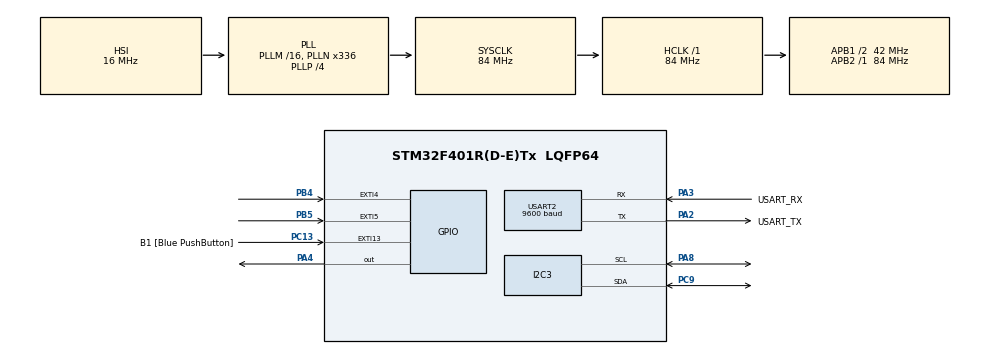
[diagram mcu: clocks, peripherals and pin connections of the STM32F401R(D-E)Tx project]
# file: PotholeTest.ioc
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I2C3.DutyCycle=I2C_DUTYCYCLE_2
I2C3.I2C_Mode=I2C_Fast
Mcu.Family=STM32F4
Mcu.Name=STM32F401R(D-E)Tx
Mcu.Package=LQFP64
NVIC.EXTI15_10_IRQn=true\:0\:0\:false\:false\:true\:true
NVIC.EXTI9_5_IRQn=true\:0\:0\:false\:false\:true\:true
NVIC.PriorityGroup=NVIC_PRIORITYGROUP_0
NVIC.TIM1_UP_TIM10_IRQn=true\:0\:0\:false\:false\:true\:true
PA13.GPIO_Label=TMS
PA13.Mode=Serial_Wire
PA13.Signal=SYS_JTMS-SWDIO
PA14.GPIO_Label=TCK
PA14.Mode=Serial_Wire
PA14.Signal=SYS_JTCK-SWCLK
PA2.GPIO_Label=USART_TX
PA2.GPIO_Mode=GPIO_MODE_AF_PP
PA2.GPIO_PuPd=GPIO_NOPULL
PA2.GPIO_Speed=GPIO_SPEED_FREQ_LOW
PA2.Mode=Asynchronous
PA2.Signal=USART2_TX
PA3.GPIO_Label=USART_RX
PA3.GPIO_Mode=GPIO_MODE_AF_PP
PA3.GPIO_PuPd=GPIO_NOPULL
PA3.GPIO_Speed=GPIO_SPEED_FREQ_LOW
PA3.Mode=Asynchronous
PA3.Signal=USART2_RX
PA4.Signal=GPIO_Output
PA8.Mode=I2C
PA8.Signal=I2C3_SCL
PB3.Signal=I2C2_SDA
PB4.Signal=GPXTI4
PB5.Signal=GPXTI5
PC13-ANTI_TAMP.GPIO_Label=B1 [Blue PushButton]
PC13-ANTI_TAMP.GPIO_ModeDefaultEXTI=GPIO_MODE_IT_FALLING
PC13-ANTI_TAMP.GPIO_PuPd=GPIO_NOPULL
PC13-ANTI_TAMP.Signal=GPXTI13
PC14-OSC32_IN.Mode=LSE-External-Oscillator
PC14-OSC32_IN.Signal=RCC_OSC32_IN
PC15-OSC32_OUT.Mode=LSE-External-Oscillator
PC15-OSC32_OUT.Signal=RCC_OSC32_OUT
PC9.Mode=I2C
PC9.Signal=I2C3_SDA
PH0\ -\ OSC_IN.Mode=HSE-External-Clock-Source
PH0\ -\ OSC_IN.Signal=RCC_OSC_IN
PH1\ -\ OSC_OUT.Mode=HSE-External-Clock-Source
PH1\ -\ OSC_OUT.Signal=RCC_OSC_OUT
ProjectManager.HeapSize=0x200
ProjectManager.StackSize=0x400
ProjectManager.TargetToolchain=SW4STM32
RCC.48MHZClocksFreq_Value=48000000
RCC.AHBFreq_Value=84000000
RCC.APB1CLKDivider=RCC_HCLK_DIV2
RCC.APB1Freq_Value=42000000
RCC.APB1TimFreq_Value=84000000
RCC.APB2Freq_Value=84000000
RCC.APB2TimFreq_Value=84000000
RCC.CortexFreq_Value=84000000
RCC.HCLKFreq_Value=84000000
RCC.HSE_VALUE=8000000
RCC.HSI_VALUE=16000000
RCC.PLLN=336
RCC.PLLP=RCC_PLLP_DIV4
RCC.PLLQ=7
RCC.SYSCLKFreq_VALUE=84000000
RCC.SYSCLKSource=RCC_SYSCLKSOURCE_PLLCLK
RCC.VCOOutputFreq_Value=336000000
TIM1.Period=32768
TIM1.Prescaler=65535
TIM1.TIM_MasterOutputTrigger=TIM_TRGO_RESET
USART2.BaudRate=9600
USART2.VirtualMode=VM_ASYNC
VP_TIM1_VS_ClockSourceINT.Mode=Internal
board=NUCLEO-F401RE

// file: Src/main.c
/**
  ******************************************************************************
  * @file           : main.c
  * @brief          : Main program body
  ******************************************************************************
  ** This notice applies to any and all portions of this file
  * that are not between comment pairs USER CODE BEGIN and
  * USER CODE END. Other portions of this file, whether
  * inserted by the user or by software development tools
  * are owned by their respective copyright owners.
  *
  * COPYRIGHT(c) 2018 STMicroelectronics
  *
  * Redistribution and use in source and binary forms, with or without modification,
  * are permitted provided that the following conditions are met:
  *   1. Redistributions of source code must retain the above copyright notice,
  *      this list of conditions and the following disclaimer.
  *   2. Redistributions in binary form must reproduce the above copyright notice,
  *      this list of conditions and the following disclaimer in the documentation
  *      and/or other materials provided with the distribution.
  *   3. Neither the name of STMicroelectronics nor the names of its contributors
  *      may be used to endorse or promote products derived from this software
  *      without specific prior written permission.
  *
  * THIS SOFTWARE IS PROVIDED BY THE COPYRIGHT HOLDERS AND CONTRIBUTORS "AS IS"
  * AND ANY EXPRESS OR IMPLIED WARRANTIES, INCLUDING, BUT NOT LIMITED TO, THE
  * IMPLIED WARRANTIES OF MERCHANTABILITY AND FITNESS FOR A PARTICULAR PURPOSE ARE
  * DISCLAIMED. IN NO EVENT SHALL THE COPYRIGHT HOLDER OR CONTRIBUTORS BE LIABLE
  * FOR ANY DIRECT, INDIRECT, INCIDENTAL, SPECIAL, EXEMPLARY, OR CONSEQUENTIAL
  * DAMAGES (INCLUDING, BUT NOT LIMITED TO, PROCUREMENT OF SUBSTITUTE GOODS OR
  * SERVICES; LOSS OF USE, DATA, OR PROFITS; OR BUSINESS INTERRUPTION) HOWEVER
  * CAUSED AND ON ANY THEORY OF LIABILITY, WHETHER IN CONTRACT, STRICT LIABILITY,
  * OR TORT (INCLUDING NEGLIGENCE OR OTHERWISE) ARISING IN ANY WAY OUT OF THE USE
  * OF THIS SOFTWARE, EVEN IF ADVISED OF THE POSSIBILITY OF SUCH DAMAGE.
  *
  ******************************************************************************
  */
#include "main.h"
#include "stm32f4xx_hal.h"

/* USER CODE BEGIN Includes */
#include "string.h"
/* Uncomment this if session will be debugged via UART */
// #define DEBUG_UART

#define MAX_BUFFER 256

/* USER CODE END Includes */

I2C_HandleTypeDef hi2c3;

TIM_HandleTypeDef htim1;

UART_HandleTypeDef huart2;

/* USER CODE BEGIN PV */
/* Private variables ---------------------------------------------------------*/
static void * LSM6DSL_X_0_handle = NULL;
/* State of the System */
uint8_t StatusFlag = 0;
/* Number of potholes detected */
static uint8_t mems_event_detected = 0;
/* Mode of the system (Timed or Delta)
 * 0 : Timed - Send counted potholes every 30 seconds
 * 1 : Burst - Send pothole as soon as detected
 */
static enum typesOfmodeTx {Timed,Burst} modeTx;
/* I2C Address of Seeeduino */
uint16_t I2C_ADDRESS = 4;
/* String message for printing stuff */
char msg [MAX_BUFFER] = "";

/* USER CODE END PV */

void SystemClock_Config(void);
static void MX_GPIO_Init(void);
static void MX_USART2_UART_Init(void);
static void MX_TIM1_Init(void);
static void MX_I2C3_Init(void);

/* USER CODE BEGIN PFP */
/* Private function prototypes -----------------------------------------------*/
static void initializeAllSensors( void );
static void enableAllSensors( void );
static void blinkLED(uint8_t counts);
static void i2c_scan( void );
static void print_UART( void );
/* USER CODE END PFP */

int main(void)
{
  /* USER CODE BEGIN 1 */
	memset(msg, 0, MAX_BUFFER);
	ACCELERO_Event_Status_t status;
	HAL_StatusTypeDef errorcode = HAL_ERROR;
  /* USER CODE END 1 */

  /* MCU Configuration----------------------------------------------------------*/

  /* Reset of all peripherals, Initializes the Flash interface and the Systick. */
  HAL_Init();

  /* USER CODE BEGIN Init */
  BSP_LED_Init( 0 );
  /* USER CODE END Init */

  /* Configure the system clock */
  SystemClock_Config();

  /* Initialize all configured peripherals */
  MX_GPIO_Init();
  MX_USART2_UART_Init();
  MX_TIM1_Init();
  MX_I2C3_Init();
  /* USER CODE BEGIN 2 */
  sprintf(msg,"Initializating board...\n");
  print_UART();
  initializeAllSensors();
  enableAllSensors();
  i2c_scan();

  HAL_TIM_Base_Start_IT(&htim1);
  /* USER CODE END 2 */

  /* Infinite loop */
  while (1)
  {

  /* USER CODE BEGIN 3 */
	  switch(StatusFlag) {
		  case 0 : {
			  break;
		  }
		  case 1 : {
			if(mems_event_detected){
				// Send counted events via I2C
				errorcode = HAL_I2C_Master_Transmit(&hi2c3,I2C_ADDRESS,&mems_event_detected,sizeof(mems_event_detected),HAL_MAX_DELAY);
				sprintf(msg,"Send via I2C [%d] events is %s\n",mems_event_detected,((errorcode == HAL_OK) ? "OK" : "ERROR"));
				print_UART();
			}
			mems_event_detected = 0;
			StatusFlag = 0;
			break;
		  }
		  case 2 : {
			  StatusFlag = 0;
			  // FreeFall detection mode
			  if ( BSP_ACCELERO_Get_Event_Status_Ext( LSM6DSL_X_0_handle, &status ) == COMPONENT_OK ){
				if ( status.FreeFallStatus != 0 ){
					// Increment events detected
					mems_event_detected++;

					sprintf(msg,"Detected event\n");
					print_UART();
					// If mode delta then send via I2C immediately (status = 1)
					if( modeTx == Burst) StatusFlag = 1;
				  }
			  }
			  break;
		  }

		  case 3 : {
			  // Delay which allow press more times the debug button (and go to 3|6|9 StatusFlag mode) via ISR
			  HAL_Delay(500);
			  // Debug button mode status
			  switch(StatusFlag) {
				  case 3 : {
					  // Print general values (Events, timer and Registers)
					  sprintf(msg,"Events: %d Timer is %s: [%lu,%lu,%lu]\n",mems_event_detected,(htim1.Instance->DMAR > 0) ? "Running" : "Stopped",htim1.Instance->CNT,htim1.Instance->PSC,htim1.Instance->ARR);
					  print_UART();
					  break;
				  }
				  case 6 : {
					  // Change mode of the system (Timed or Delta)
					  (htim1.Instance->DMAR > 0) ? HAL_TIM_Base_Stop_IT(&htim1) : HAL_TIM_Base_Start_IT(&htim1);
					  modeTx = !modeTx;
					  // And print result
					  sprintf(msg,"STM32 is now in mode %s\n",((modeTx > 0) ? "Burst" : "Timed"));
					  print_UART();
					  // Blink 6 times if Burst mode or 3 times if Timed mode
					  blinkLED(((modeTx > 0) ? 6 : 3));
					  break;
				  }
				  case 9 : {
					  i2c_scan();
					  break;
				  }
			  }
			  // Reset Flag
			  StatusFlag = 0;
			  break;
		  }
		  default : {
			  // Unknown mode status
			  sprintf(msg,"Error: FlagStatus Unknown\n");
			  print_UART();
			  StatusFlag = 0;
		  }
	  }
  }
  /* USER CODE END 3 */

}

void SystemClock_Config(void)
{

  RCC_OscInitTypeDef RCC_OscInitStruct;
  RCC_ClkInitTypeDef RCC_ClkInitStruct;

    /**Configure the main internal regulator output voltage
    */
  __HAL_RCC_PWR_CLK_ENABLE();

  __HAL_PWR_VOLTAGESCALING_CONFIG(PWR_REGULATOR_VOLTAGE_SCALE2);

    /**Initializes the CPU, AHB and APB busses clocks
    */
  RCC_OscInitStruct.OscillatorType = RCC_OSCILLATORTYPE_HSI;
  RCC_OscInitStruct.HSIState = RCC_HSI_ON;
  RCC_OscInitStruct.HSICalibrationValue = 16;
  RCC_OscInitStruct.PLL.PLLState = RCC_PLL_ON;
  RCC_OscInitStruct.PLL.PLLSource = RCC_PLLSOURCE_HSI;
  RCC_OscInitStruct.PLL.PLLM = 16;
  RCC_OscInitStruct.PLL.PLLN = 336;
  RCC_OscInitStruct.PLL.PLLP = RCC_PLLP_DIV4;
  RCC_OscInitStruct.PLL.PLLQ = 7;
  if (HAL_RCC_OscConfig(&RCC_OscInitStruct) != HAL_OK)
  {
    _Error_Handler(__FILE__, __LINE__);
  }

    /**Initializes the CPU, AHB and APB busses clocks
    */
  RCC_ClkInitStruct.ClockType = RCC_CLOCKTYPE_HCLK|RCC_CLOCKTYPE_SYSCLK
                              |RCC_CLOCKTYPE_PCLK1|RCC_CLOCKTYPE_PCLK2;
  RCC_ClkInitStruct.SYSCLKSource = RCC_SYSCLKSOURCE_PLLCLK;
  RCC_ClkInitStruct.AHBCLKDivider = RCC_SYSCLK_DIV1;
  RCC_ClkInitStruct.APB1CLKDivider = RCC_HCLK_DIV2;
  RCC_ClkInitStruct.APB2CLKDivider = RCC_HCLK_DIV1;

  if (HAL_RCC_ClockConfig(&RCC_ClkInitStruct, FLASH_LATENCY_2) != HAL_OK)
  {
    _Error_Handler(__FILE__, __LINE__);
  }

    /**Configure the Systick interrupt time
    */
  HAL_SYSTICK_Config(HAL_RCC_GetHCLKFreq()/1000);

    /**Configure the Systick
    */
  HAL_SYSTICK_CLKSourceConfig(SYSTICK_CLKSOURCE_HCLK);

  /* SysTick_IRQn interrupt configuration */
  HAL_NVIC_SetPriority(SysTick_IRQn, 0, 0);
}

/* I2C3 init function */
static void MX_I2C3_Init(void)
{

  hi2c3.Instance = I2C3;
  hi2c3.Init.ClockSpeed = 400000;
  hi2c3.Init.DutyCycle = I2C_DUTYCYCLE_2;
  hi2c3.Init.OwnAddress1 = 0;
  hi2c3.Init.AddressingMode = I2C_ADDRESSINGMODE_7BIT;
  hi2c3.Init.DualAddressMode = I2C_DUALADDRESS_DISABLE;
  hi2c3.Init.OwnAddress2 = 0;
  hi2c3.Init.GeneralCallMode = I2C_GENERALCALL_DISABLE;
  hi2c3.Init.NoStretchMode = I2C_NOSTRETCH_DISABLE;
  if (HAL_I2C_Init(&hi2c3) != HAL_OK)
  {
    _Error_Handler(__FILE__, __LINE__);
  }

}

/* TIM1 init function */
static void MX_TIM1_Init(void)
{

  TIM_ClockConfigTypeDef sClockSourceConfig;
  TIM_MasterConfigTypeDef sMasterConfig;

  htim1.Instance = TIM1;
  htim1.Init.Prescaler = 65535;
  htim1.Init.CounterMode = TIM_COUNTERMODE_UP;
  htim1.Init.Period = 32768;
  htim1.Init.ClockDivision = TIM_CLOCKDIVISION_DIV1;
  htim1.Init.RepetitionCounter = 0;
  if (HAL_TIM_Base_Init(&htim1) != HAL_OK)
  {
    _Error_Handler(__FILE__, __LINE__);
  }

  sClockSourceConfig.ClockSource = TIM_CLOCKSOURCE_INTERNAL;
  if (HAL_TIM_ConfigClockSource(&htim1, &sClockSourceConfig) != HAL_OK)
  {
    _Error_Handler(__FILE__, __LINE__);
  }

  sMasterConfig.MasterOutputTrigger = TIM_TRGO_RESET;
  sMasterConfig.MasterSlaveMode = TIM_MASTERSLAVEMODE_DISABLE;
  if (HAL_TIMEx_MasterConfigSynchronization(&htim1, &sMasterConfig) != HAL_OK)
  {
    _Error_Handler(__FILE__, __LINE__);
  }

}

/* USART2 init function */
static void MX_USART2_UART_Init(void)
{

  huart2.Instance = USART2;
  huart2.Init.BaudRate = 9600;
  huart2.Init.WordLength = UART_WORDLENGTH_8B;
  huart2.Init.StopBits = UART_STOPBITS_1;
  huart2.Init.Parity = UART_PARITY_NONE;
  huart2.Init.Mode = UART_MODE_TX_RX;
  huart2.Init.HwFlowCtl = UART_HWCONTROL_NONE;
  huart2.Init.OverSampling = UART_OVERSAMPLING_16;
  if (HAL_UART_Init(&huart2) != HAL_OK)
  {
    _Error_Handler(__FILE__, __LINE__);
  }

}

/** Configure pins as
        * Analog
        * Input
        * Output
        * EVENT_OUT
        * EXTI
     PB3   ------> I2C2_SDA
*/
static void MX_GPIO_Init(void)
{

  GPIO_InitTypeDef GPIO_InitStruct;

  /* GPIO Ports Clock Enable */
  __HAL_RCC_GPIOC_CLK_ENABLE();
  __HAL_RCC_GPIOH_CLK_ENABLE();
  __HAL_RCC_GPIOA_CLK_ENABLE();
  __HAL_RCC_GPIOB_CLK_ENABLE();

  /*Configure GPIO pin Output Level */
  HAL_GPIO_WritePin(GPIOA, GPIO_PIN_4, GPIO_PIN_RESET);

  /*Configure GPIO pin : B1_Pin */
  GPIO_InitStruct.Pin = B1_Pin;
  GPIO_InitStruct.Mode = GPIO_MODE_IT_FALLING;
  GPIO_InitStruct.Pull = GPIO_NOPULL;
  HAL_GPIO_Init(B1_GPIO_Port, &GPIO_InitStruct);

  /*Configure GPIO pin : PA4 */
  GPIO_InitStruct.Pin = GPIO_PIN_4;
  GPIO_InitStruct.Mode = GPIO_MODE_OUTPUT_PP;
  GPIO_InitStruct.Pull = GPIO_NOPULL;
  GPIO_InitStruct.Speed = GPIO_SPEED_FREQ_LOW;
  HAL_GPIO_Init(GPIOA, &GPIO_InitStruct);

  /*Configure GPIO pin : PB3 */
  GPIO_InitStruct.Pin = GPIO_PIN_3;
  GPIO_InitStruct.Mode = GPIO_MODE_AF_OD;
  GPIO_InitStruct.Pull = GPIO_PULLUP;
  GPIO_InitStruct.Speed = GPIO_SPEED_FREQ_VERY_HIGH;
  GPIO_InitStruct.Alternate = GPIO_AF9_I2C2;
  HAL_GPIO_Init(GPIOB, &GPIO_InitStruct);

  /*Configure GPIO pins : PB4 PB5 */
  GPIO_InitStruct.Pin = GPIO_PIN_4|GPIO_PIN_5;
  GPIO_InitStruct.Mode = GPIO_MODE_IT_RISING;
  GPIO_InitStruct.Pull = GPIO_NOPULL;
  HAL_GPIO_Init(GPIOB, &GPIO_InitStruct);

  /* EXTI interrupt init*/
  HAL_NVIC_SetPriority(EXTI9_5_IRQn, 0, 0);
  HAL_NVIC_EnableIRQ(EXTI9_5_IRQn);

  HAL_NVIC_SetPriority(EXTI15_10_IRQn, 0, 0);
  HAL_NVIC_EnableIRQ(EXTI15_10_IRQn);

}

/* USER CODE BEGIN 4 */
/**
 * @brief  Initialize all sensors
 * @param  None
 * @retval None
 */
static void initializeAllSensors( void )
{

  if(BSP_ACCELERO_Init( LSM6DSL_X_0, &LSM6DSL_X_0_handle ) == COMPONENT_ERROR)
  {
    /* LSM6DSL not detected, switch on LED2 and go to infinity loop */
	 sprintf(msg,"Error: LSM6DSL Initialization Error\n");
     print_UART();
	_Error_Handler(__FILE__, __LINE__);
  }
}

/**
 * @brief  Enable all sensors
 * @param  None
 * @retval None
 */
static void enableAllSensors( void )
{
	BSP_ACCELERO_Sensor_Enable( LSM6DSL_X_0_handle );
	if ( BSP_ACCELERO_Enable_Free_Fall_Detection_Ext( LSM6DSL_X_0_handle, INT1_PIN ) != COMPONENT_OK )
	{
		sprintf(msg,"Error: LSM6DSL Enabling Free Fall Detection\n");
	     print_UART();
		_Error_Handler(__FILE__, __LINE__);
	}
}
/**
 * @brief  Blink LED X times
 * @param  None
 * @retval None
 */
static void blinkLED(uint8_t counts){
	uint8_t counter;
	for(counter = 0;counter < counts ; counter ++){
		BSP_LED_On( 0 );
		HAL_Delay(100);
		BSP_LED_Off( 0 );
		HAL_Delay(100);
	}
}
/**
 * @brief  EXTI line detection callbacks
 * @param  GPIO_Pin: Specifies the pins connected EXTI line
 * @retval None
 */
void HAL_GPIO_EXTI_Callback( uint16_t GPIO_Pin )
{

  /* User button. */
  if(GPIO_Pin == B1_Pin)
  {
    if ( BSP_PB_GetState( 0 ) == GPIO_PIN_RESET )
    {
      // If debug button mode is UNPRESED then go to debug mode (3,6,9)
    	StatusFlag += 3;
    }
  }

  /* Free fall detection INterrupt PIN (available only for LSM6DSL sensor). */
  else if ( GPIO_Pin == LSM6DSL_INT1_O_PIN )
  {
	  StatusFlag = 2;
  }
}
static void i2c_scan( void )
{
	sprintf(msg,"Scanning I2C devices\n");
    print_UART();
	for(uint16_t i=1;i<128;i++)
	{
		if(HAL_I2C_IsDeviceReady(&hi2c3,i<<1,1,2)==HAL_OK)
		{
			sprintf(msg,"Device %d ready\n",i);
		    print_UART();
			I2C_ADDRESS = i<<1;
		}
		HAL_Delay(1);
	}
	sprintf(msg,"Scan finished\n");
    print_UART();
}
static void print_UART( void ){
#ifdef DEBUG_UART
	HAL_UART_Transmit(&huart2,(uint8_t*)msg,strlen(msg),HAL_MAX_DELAY);
#endif
}
/* USER CODE END 4 */

void _Error_Handler(char *file, int line)
{
  /* USER CODE BEGIN Error_Handler_Debug */
  /* User can add his own implementation to report the HAL error return state */
  sprintf(msg,"Error file %s at line %d\n",file,line);
  print_UART();
  while(1)
  {
		BSP_LED_On( 0 );
		HAL_Delay(100);
		BSP_LED_Off( 0 );
		HAL_Delay(100);
  }
  /* USER CODE END Error_Handler_Debug */
}

/************************ (C) COPYRIGHT STMicroelectronics *****END OF FILE****/
